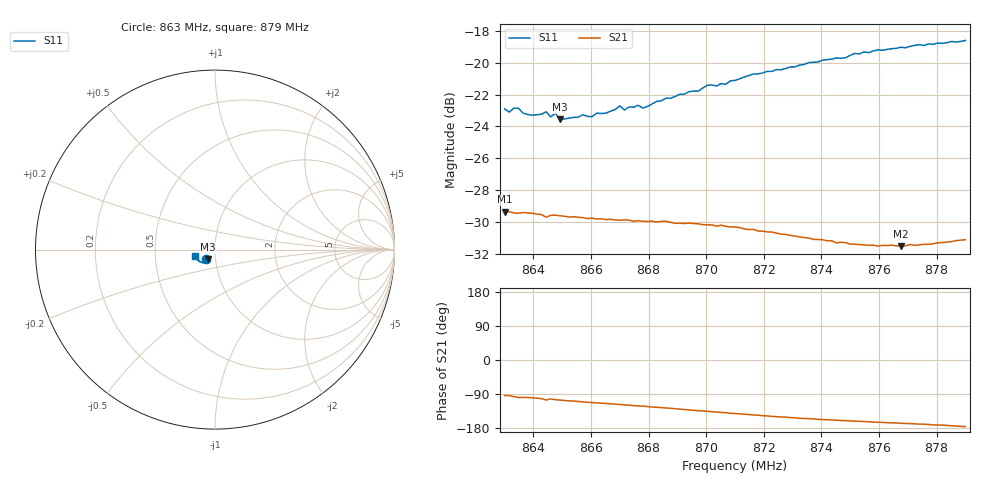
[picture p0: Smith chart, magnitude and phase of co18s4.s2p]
# HZ S RI R 50
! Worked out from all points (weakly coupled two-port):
!   101 points, 863 MHz to 879 MHz, reference 50 ohm
!   highest |S21| = -29.35 dB at 863 MHz (marker M1); lowest = -31.5 dB at 876.76 MHz (marker M2)
!   lowest |S11| = -23.5 dB at 864.92 MHz (marker M3), VSWR 1.14, Z = 46.1 - j5.06 ohm
!   |S11| at or under -10 dB: start of sweep to end of sweep
!   S12 and S22 are empty: the file has one direction only
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8.63e8  -0.0475 -0.0537  -0.00222 -0.034  0 0  0 0
8.6316e8  -0.0427 -0.0554  -0.00224 -0.034  0 0  0 0
8.6348e8  -0.0455 -0.0558  -0.00522 -0.0333  0 0  0 0
8.6396e8  -0.0408 -0.0549  -0.00573 -0.0332  0 0  0 0
8.6444e8  -0.0436 -0.055  -0.00876 -0.0315  0 0  0 0
8.646e8  -0.0378 -0.0561  -0.00727 -0.0324  0 0  0 0
8.6476e8  -0.0398 -0.0568  -0.00846 -0.0321  0 0  0 0
8.6492e8  -0.0379 -0.0546  -0.00903 -0.0318  0 0  0 0
8.6572e8  -0.0361 -0.0584  -0.0115 -0.0305  0 0  0 0
8.6604e8  -0.0357 -0.0576  -0.0124 -0.03  0 0  0 0
8.67e8  -0.0386 -0.0623  -0.0147 -0.0284  0 0  0 0
8.6716e8  -0.0351 -0.0618  -0.0153 -0.0282  0 0  0 0
8.6764e8  -0.0366 -0.0638  -0.0165 -0.0273  0 0  0 0
8.678e8  -0.0356 -0.0627  -0.0167 -0.027  0 0  0 0
8.6844e8  -0.0366 -0.0665  -0.0185 -0.0258  0 0  0 0
8.6972e8  -0.0417 -0.07  -0.0216 -0.0225  0 0  0 0
8.7004e8  -0.0451 -0.0721  -0.022 -0.0218  0 0  0 0
8.71e8  -0.0503 -0.0723  -0.0238 -0.0191  0 0  0 0
8.7372e8  -0.0684 -0.0735  -0.0253 -0.0117  0 0  0 0
8.7644e8  -0.0924 -0.061  -0.0259 -0.00656  0 0  0 0
8.7676e8  -0.0954 -0.0586  -0.0259 -0.00595  0 0  0 0
8.79e8  -0.1112 -0.0381  -0.0277 -0.00206  0 0  0 0
